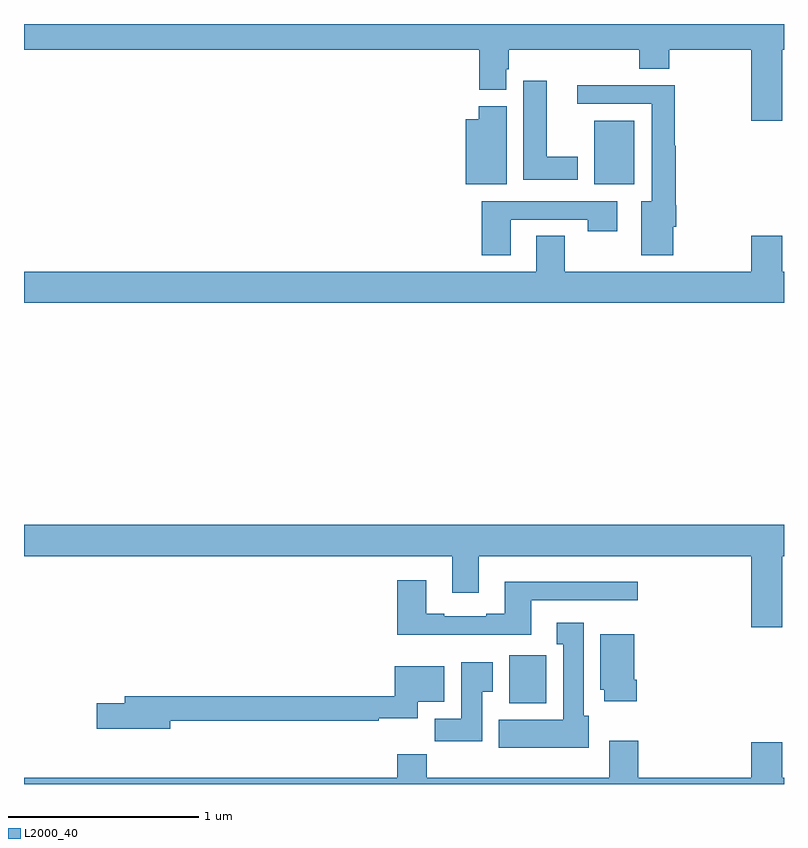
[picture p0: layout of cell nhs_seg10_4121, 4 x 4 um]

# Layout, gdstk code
import gdstk
lib = gdstk.Library(unit=1e-6, precision=1e-09)
def R(c, l, rs):  # rectangles x0, y0, x1, y1
    for r in rs: c.add(gdstk.rectangle(r[:2], r[2:], *l))
def P(c, l, *ps):  # polygons
    for p in ps: c.add(gdstk.Polygon(p, *l))
L2000_40 = (2000, 40)

nhs_seg10_4121 = lib.new_cell('nhs_seg10_4121')
R(nhs_seg10_4121, L2000_40, [(343.553,1248.926,343.749,1249.177), (344,1251.656,344.212,1251.991)])
P(nhs_seg10_4121, L2000_40, [(344.992,1252.364),(345,1252.364),(345,1252.5),(341,1252.5),(341,1252.364),(343.397,1252.364),(343.397,1252.153),(343.537,1252.153),(343.537,1252.263),(343.55,1252.263),(343.55,1252.364),(344.237,1252.364),(344.237,1252.265),(344.397,1252.265),(344.397,1252.364),(344.828,1252.364),(344.828,1251.99),(344.992,1251.99)],
  [(343.915,1251.802),(343.75,1251.802),(343.75,1252.201),(343.628,1252.201),(343.628,1251.68),(343.915,1251.68)],
  [(344.416,1251.432),(344.434,1251.432),(344.434,1251.546),(344.429,1251.546),(344.429,1251.86),(344.424,1251.86),(344.424,1252.178),(343.911,1252.178),(343.911,1252.08),(344.303,1252.08),(344.303,1251.568),(344.249,1251.568),(344.249,1251.282),(344.416,1251.282)],
  [(343.54,1252.068),(343.394,1252.068),(343.394,1252),(343.325,1252),(343.325,1251.656),(343.54,1251.656)],
  [(343.561,1251.471),(343.966,1251.471),(343.966,1251.408),(344.122,1251.408),(344.122,1251.567),(343.409,1251.567),(343.409,1251.282),(343.561,1251.282)],
  [(345,1251.196),(344.992,1251.196),(344.992,1251.385),(344.828,1251.385),(344.828,1251.196),(343.845,1251.196),(343.845,1251.386),(343.697,1251.386),(343.697,1251.196),(341,1251.196),(341,1251.032),(345,1251.032)],
  [(344.992,1249.7),(345,1249.7),(345,1249.864),(341,1249.864),(341,1249.7),(343.253,1249.7),(343.253,1249.506),(343.393,1249.506),(343.393,1249.7),(344.828,1249.7),(344.828,1249.326),(344.992,1249.326)],
  [(343.669,1249.467),(344.23,1249.467),(344.23,1249.564),(343.529,1249.564),(343.529,1249.396),(343.433,1249.396),(343.433,1249.383),(343.213,1249.383),(343.213,1249.396),(343.117,1249.396),(343.117,1249.573),(342.965,1249.573),(342.965,1249.286),(343.669,1249.286)],
  [(343.972,1248.858),(343.945,1248.858),(343.945,1249.348),(343.805,1249.348),(343.805,1249.235),(343.838,1249.235),(343.838,1248.838),(343.499,1248.838),(343.499,1248.692),(343.972,1248.692)],
  [(344.225,1249.048),(344.212,1249.048),(344.212,1249.288),(344.033,1249.288),(344.033,1248.996),(344.054,1248.996),(344.054,1248.936),(344.225,1248.936)],
  [(343.411,1248.985),(343.468,1248.985),(343.468,1249.141),(343.301,1249.141),(343.301,1248.844),(343.162,1248.844),(343.162,1248.726),(343.411,1248.726)],
  [(341.77,1248.834),(342.866,1248.834),(342.866,1248.845),(343.072,1248.845),(343.072,1248.932),(343.213,1248.932),(343.213,1249.12),(342.95,1249.12),(342.95,1248.962),(341.531,1248.962),(341.531,1248.926),(341.382,1248.926),(341.382,1248.791),(341.77,1248.791)],
  [(345,1248.532),(344.992,1248.532),(344.992,1248.721),(344.828,1248.721),(344.828,1248.532),(344.234,1248.532),(344.234,1248.727),(344.081,1248.727),(344.081,1248.532),(343.121,1248.532),(343.121,1248.656),(342.965,1248.656),(342.965,1248.532),(341,1248.532),(341,1248.5),(345,1248.5)])

lib.write_gds('nhs_seg10_4121.gds')
